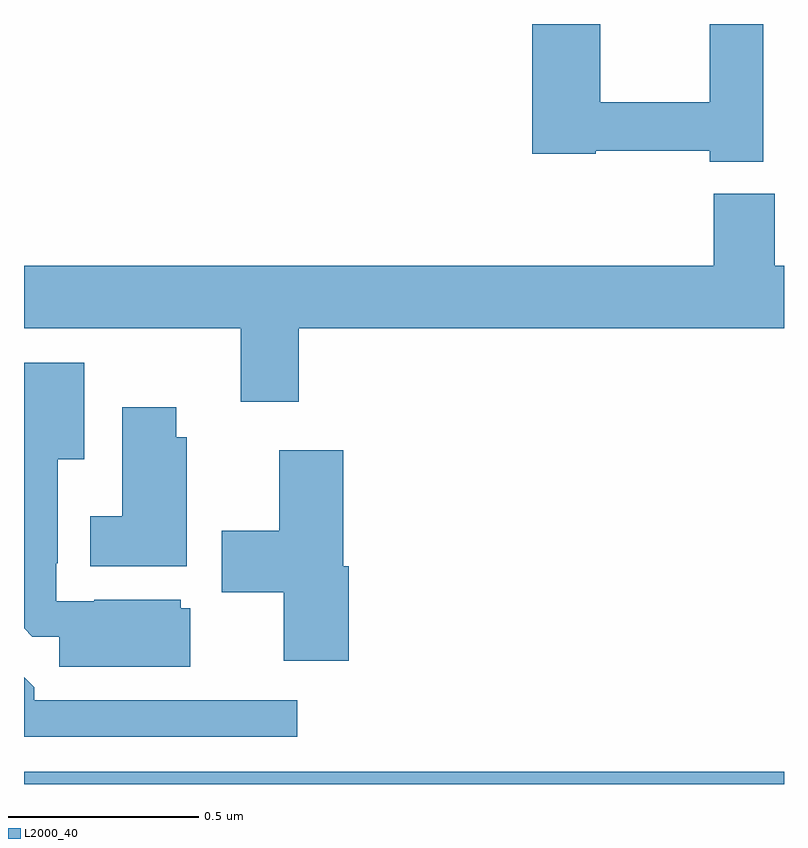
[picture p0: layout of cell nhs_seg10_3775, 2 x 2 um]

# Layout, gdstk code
import gdstk
lib = gdstk.Library(unit=1e-6, precision=1e-09)
def R(c, l, rs):  # rectangles x0, y0, x1, y1
    for r in rs: c.add(gdstk.rectangle(r[:2], r[2:], *l))
def P(c, l, *ps):  # polygons
    for p in ps: c.add(gdstk.Polygon(p, *l))
L2000_40 = (2000, 40)

nhs_seg10_3775 = lib.new_cell('nhs_seg10_3775')
R(nhs_seg10_3775, L2000_40, [(158,1248.5,160,1248.532)])
P(nhs_seg10_3775, L2000_40, [(159.946,1250.5),(159.805,1250.5),(159.805,1250.294),(159.516,1250.294),(159.516,1250.5),(159.338,1250.5),(159.338,1250.158),(159.504,1250.158),(159.504,1250.166),(159.805,1250.166),(159.805,1250.138),(159.946,1250.138)],
  [(158.723,1249.7),(160,1249.7),(160,1249.864),(159.975,1249.864),(159.975,1250.053),(159.815,1250.053),(159.815,1249.864),(158,1249.864),(158,1249.7),(158.57,1249.7),(158.57,1249.506),(158.723,1249.506)],
  [(158.437,1248.963),(158.412,1248.963),(158.412,1248.985),(158.185,1248.985),(158.185,1248.981),(158.085,1248.981),(158.085,1249.081),(158.089,1249.081),(158.089,1249.355),(158.158,1249.355),(158.158,1249.609),(158,1249.609),(158,1248.91),(158.022,1248.888),(158.093,1248.888),(158.093,1248.809),(158.437,1248.809)],
  [(158.428,1249.413),(158.401,1249.413),(158.401,1249.492),(158.258,1249.492),(158.258,1249.204),(158.174,1249.204),(158.174,1249.073),(158.428,1249.073)],
  [(158.855,1249.073),(158.84,1249.073),(158.84,1249.378),(158.672,1249.378),(158.672,1249.167),(158.52,1249.167),(158.52,1249.004),(158.684,1249.004),(158.684,1248.825),(158.855,1248.825)],
  [(158.719,1248.72),(158.027,1248.72),(158.027,1248.754),(158,1248.781),(158,1248.624),(158.719,1248.624)])

lib.write_gds('nhs_seg10_3775.gds')
